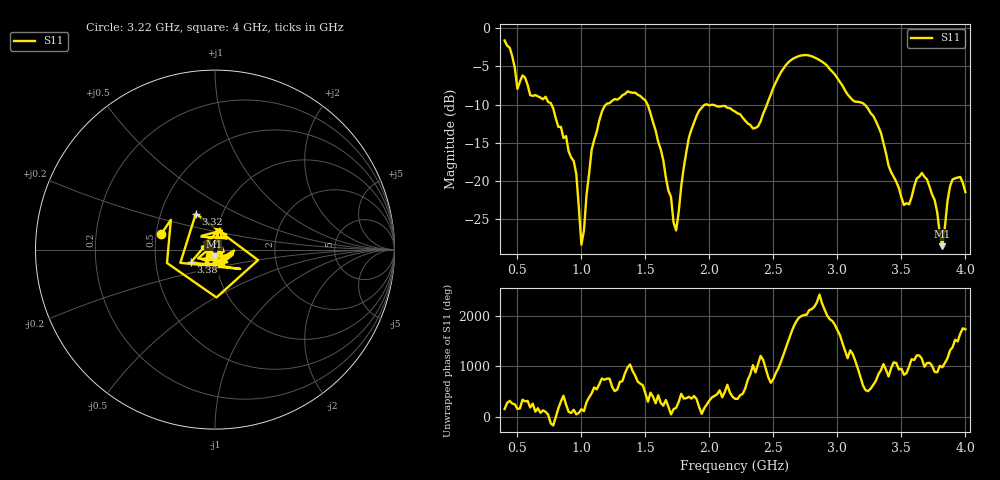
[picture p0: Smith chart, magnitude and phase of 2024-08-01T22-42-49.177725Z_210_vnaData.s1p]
!Created with skrf (http://scikit-rf.org).
# Hz S RI R 50.0
!freq ReS11 ImS11
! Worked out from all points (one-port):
!   181 points, 400 MHz to 4 GHz, reference 50 ohm
!   lowest |S11| = -28.5 dB at 3.82 GHz (marker M1), VSWR 1.08, Z = 49.2 - j3.65 ohm
!   |S11| at or under -10 dB: 1.517 GHz to 1.971 GHz (454.3 MHz wide, 26.1 % of centre); 1.984 GHz to 2.45 GHz (465.1 MHz wide, 21 % of centre); 3.211 GHz to end of sweep (the widest 3 of 4)
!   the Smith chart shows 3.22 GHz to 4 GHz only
!   S11 on the Smith chart (normalised r, x): 3.22 GHz: 0.53, +0.10; 3.32 GHz: 0.75, +0.32; 3.38 GHz: 0.76, -0.11; 4 GHz: 1.05, -0.17
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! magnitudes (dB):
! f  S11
! 400 MHz  -1.6
! 500 MHz  -7.9
! 720 MHz  -9.0
! 860 MHz  -14.4
! 960 MHz  -19.1
! 1 GHz  -28.3
! 1.1 GHz  -14.6
! 1.18 GHz  -10.2
! 1.3 GHz  -9.1
! 1.52 GHz  -10.1
! 1.72 GHz  -25.4
! 1.76 GHz  -24.0
! 1.84 GHz  -14.3
! 1.92 GHz  -10.8
! 2.2 GHz  -10.9
! 2.38 GHz  -12.8
! 2.66 GHz  -3.9
! 2.9 GHz  -4.6
! 3.1 GHz  -9.1
! 3.22 GHz  -10.1
! 3.32 GHz  -12.9
! 3.38 GHz  -16.4
! 3.56 GHz  -23.0
! 3.66 GHz  -18.9
! 3.76 GHz  -22.5
! 3.82 GHz  -28.5
! 3.9 GHz  -19.8
! 4 GHz  -21.4
